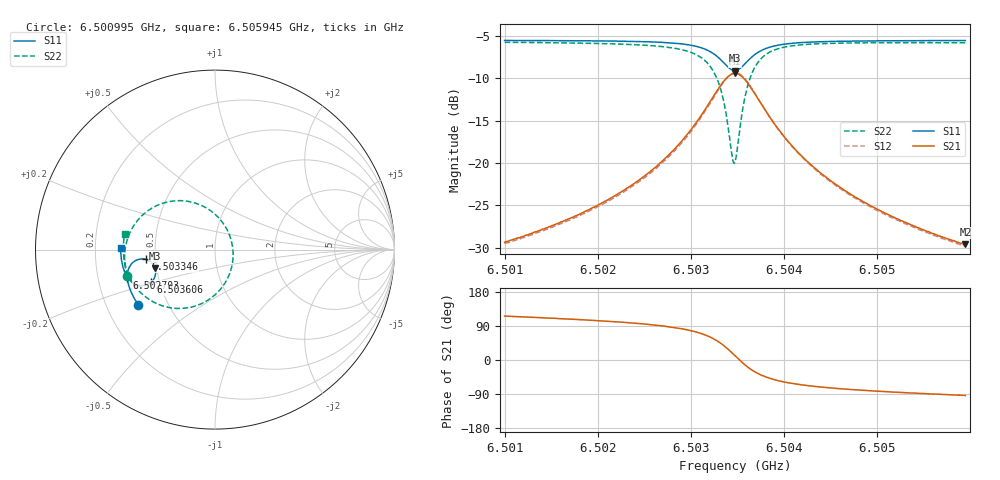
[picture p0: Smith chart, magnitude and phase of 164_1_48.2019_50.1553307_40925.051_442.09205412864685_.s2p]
#  HZ  S  RI  R  50.00
! Rohde & Schwarz Vector Network Analyzer
! Rohde-Schwarz,ZNB20-2Port,1311601062101988,3.16
! Created: UTC 3/20/2024, 11:43:20 AM
! freq[Hz]  re:S11  im:S11  re:S21  im:S21  re:S12  im:S12  re:S22  im:S22
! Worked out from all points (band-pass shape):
!   401 points, 6.500995 GHz to 6.505945 GHz, reference 50 ohm
!   highest |S21| = -9.45 dB at 6.50347 GHz (marker M1); lowest = -29.6 dB at 6.505945 GHz (marker M2)
!   |S21| within 3 dB of the highest: 6.503222 GHz to 6.503717 GHz (495 kHz wide, 0.00761 % of centre)
!   lowest |S11| = -9.1 dB at 6.50347 GHz (marker M3), VSWR 2.08, Z = 24.5 - j5.86 ohm
!   |S11| at or under -10 dB: nowhere
!   |S22| runs from -20.0 to -5.8 dB; largest |S21 - S12| = 0.012
!   S11 on the Smith chart (normalised r, x): 6.500995 GHz: 0.34, -0.29; 6.502703 GHz: 0.33, -0.14; 6.503346 GHz: 0.44, -0.06; 6.503606 GHz: 0.45, -0.19; 6.505945 GHz: 0.31, +0.01
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6.5009953e9  -0.4283 -0.3062  -0.0149 0.0307  -0.0132 0.0308  -0.4915 -0.1494
6.5018243e9  -0.4636 -0.2446  -0.0142 0.0488  -0.0117 0.0484  -0.5039 -0.0603
6.5022697e9  -0.4791 -0.2048  -0.0113 0.0677  -0.0082 0.0666  -0.5004 0.00367
6.5026533e9  -0.488 -0.162  -0.00159 0.0983  0.00183 0.096  -0.4797 0.0813
6.5027028e9  -0.4885 -0.1554  0.000733 0.1042  0.0045 0.1015  -0.4743 0.0942
6.5029378e9  -0.4851 -0.1187  0.0234 0.1409  0.0271 0.1365  -0.4267 0.1684
6.5030987e9  -0.4707 -0.0867  0.0625 0.1768  0.0655 0.171  -0.3504 0.2316
6.5032472e9  -0.4333 -0.0569  0.144 0.2055  0.1449 0.199  -0.2017 0.2728
6.5033462e9  -0.3868 -0.054  0.2352 0.189  0.2354 0.1839  -0.0438 0.2295
6.5034328e9  -0.3444 -0.083  0.3129 0.1144  0.3155 0.1099  0.0801 0.0828
6.5034575e9  -0.3365 -0.0972  0.3263 0.0827  0.3293 0.0775  0.0968 0.0227
6.5034699e9  -0.3337 -0.1049  0.3306 0.0659  0.3339 0.0601  0.1005 -0.0085
6.5034946e9  -0.3307 -0.1211  0.3339 0.0313  0.3376 0.0244  0.0978 -0.0716
6.5035318e9  -0.3328 -0.1449  0.3264 -0.0185  0.3297 -0.0276  0.0702 -0.1599
6.503606e9  -0.3551 -0.1815  0.28 -0.0944  0.2795 -0.1059  -0.0395 -0.2818
6.5037174e9  -0.4004 -0.2011  0.1935 -0.1393  0.188 -0.149  -0.2147 -0.3277
6.5038782e9  -0.4474 -0.1917  0.1102 -0.1355  0.1029 -0.1406  -0.3649 -0.279
6.5040514e9  -0.4751 -0.1703  0.0649 -0.1147  0.0585 -0.1169  -0.4381 -0.2126
6.5042989e9  -0.496 -0.1405  0.0345 -0.0897  0.0295 -0.0903  -0.4819 -0.1394
6.5046577e9  -0.5111 -0.1026  0.0155 -0.0666  0.0122 -0.0661  -0.504 -0.0659
6.5051279e9  -0.521 -0.0587  0.0051 -0.0491  0.0028 -0.0483  -0.5107 0.00181
6.5059445e9  -0.5259 0.0108  -0.00207 -0.033  -0.00341 -0.0322  -0.5029 0.0895
